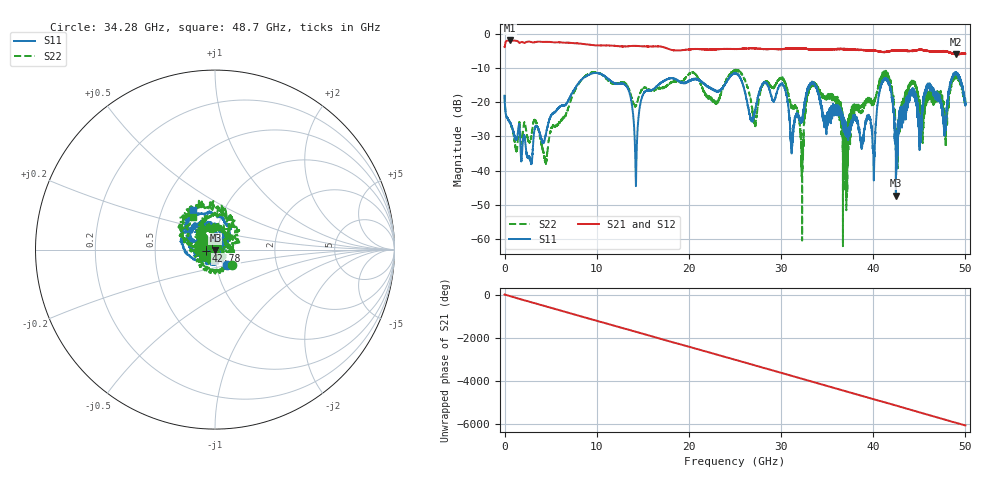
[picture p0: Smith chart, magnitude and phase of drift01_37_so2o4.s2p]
!Created with skrf (http://scikit-rf.org).
# Hz S RI R 50.0
!freq ReS11 ImS11 ReS21 ImS21 ReS12 ImS12 ReS22 ImS22
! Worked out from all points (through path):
!   10001 points, 300 kHz to 50 GHz, reference 50 ohm
!   highest |S21| = -2.00 dB at 625.3 MHz (marker M1); lowest = -6.1 dB at 48.98 GHz (marker M2)
!   group delay of S21, straight-line fit = 336 ps
!   lowest |S11| = -47.3 dB at 42.46 GHz (marker M3), VSWR 1.01, Z = 50.2 - j0.363 ohm
!   |S11| at or under -10 dB: start of sweep to end of sweep
!   |S22| runs from -62.1 to -10.5 dB; largest |S21 - S12| = 0.02
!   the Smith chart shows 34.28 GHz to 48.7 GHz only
!   S11 on the Smith chart (normalised r, x): 34.28 GHz: 1.12, -0.19; 42.78 GHz: 0.90, -0.01; 48.7 GHz: 0.72, +0.34
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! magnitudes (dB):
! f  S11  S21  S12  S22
! 300 kHz  -18.2  -3.9  -4.0  -17.9
! 625.3 MHz  -26.0  -2.0  -2.0  -26.1
! 4.44 GHz  -29.8  -2.4  -2.4  -37.5
! 8.335 GHz  -13.5  -3.0  -3.0  -13.5
! 13.17 GHz  -15.1  -3.7  -3.7  -14.6
! 14.25 GHz  -44.5  -3.6  -3.6  -21.1
! 16.67 GHz  -15.0  -3.7  -3.7  -15.9
! 25 GHz  -11.6  -4.5  -4.5  -10.8
! 27.15 GHz  -22.6  -4.3  -4.3  -25.9
! 30.2 GHz  -15.0  -4.5  -4.5  -13.4
! 32.25 GHz  -25.3  -4.4  -4.3  -36.0
! 33.34 GHz  -14.3  -4.7  -4.6  -14.5
! 34.28 GHz  -19.4  -4.7  -4.6  -18.0
! 37.04 GHz  -27.1  -4.6  -4.5  -30.4
! 40.06 GHz  -42.2  -5.0  -5.0  -20.4
! 41.67 GHz  -14.2  -5.1  -5.2  -12.7
! 42.46 GHz  -47.3  -4.8  -4.8  -31.8
! 42.78 GHz  -25.7  -4.9  -4.9  -27.0
! 47.76 GHz  -27.6  -5.1  -5.1  -24.3
! 48.7 GHz  -12.0  -5.9  -5.9  -13.2
! 48.98 GHz  -11.5  -6.1  -6.0  -12.7
! 50 GHz  -20.4  -5.9  -5.8  -19.6
